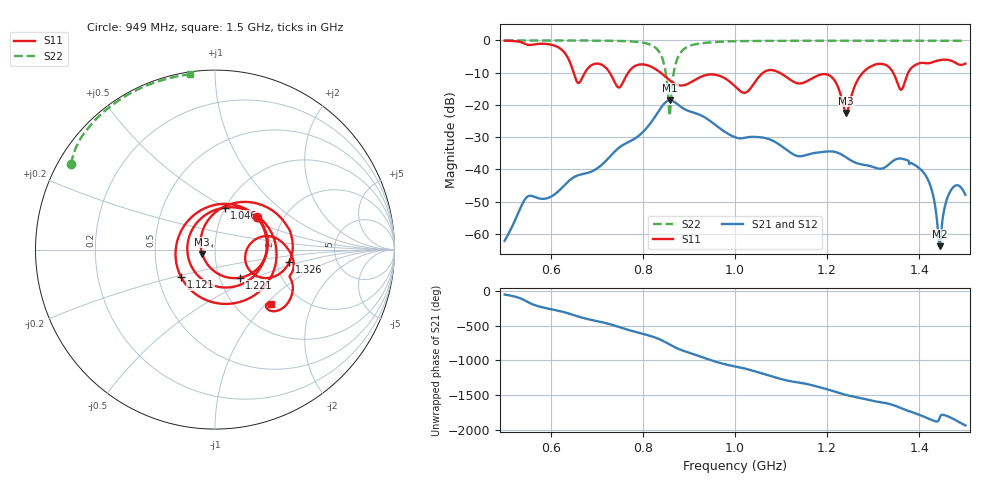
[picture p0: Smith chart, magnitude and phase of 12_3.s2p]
! TOUCHSTONE file generated by CST MICROWAVE STUDIO
! Date and time: Fri Dec 11 13:55:07 2020
! Project name: Scenario_1_Planar_Body_Tissue_Out_of_Line_v2.cst
! Parameters = {dy1=-155.7; L_HA=400; Ltissue=700; MT=2.54; Rad_Dielectric=30; Rad_Lower=7.3; Rad_Upper=30; Wtissue=700; a_HA=580; a_WG=246; b_HA=500; b_WG=121; c_HA=0; c_WG=187; d_feed=85; dx1=520; h_feed=15; h_lower=18; h_upper=40; hfat=3; hgap=25; hmuscle=50; hskin=1.5}
! Header version: 2018
! Port assignment regex: !\s*Touchstone port\s*([0-9]+)\s*=\s*(CST MWS port|CST DS port)\s*([0-9]+|Zmin|Zmax)\s*\(\"(.*)\"\)(\s*mode\s*([0-9]+))?.*
! Touchstone port assignment:
! Touchstone port 1 = CST MWS port 1 ("")
! Touchstone port 2 = CST MWS port 2 ("")
# GHz S DB R 50
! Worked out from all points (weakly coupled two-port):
!   1003 points, 500 MHz to 1.5 GHz, reference 50 ohm
!   highest |S21| = -18.59 dB at 859 MHz (marker M1); lowest = -63.8 dB at 1.444 GHz (marker M2)
!   lowest |S11| = -22.5 dB at 1.241 GHz (marker M3), VSWR 1.16, Z = 43.3 - j2.17 ohm
!   |S11| at or under -10 dB: 728.1 MHz to 768.3 MHz (40.19 MHz wide, 5.37 % of centre); 838.4 MHz to 1.061 GHz (222.9 MHz wide, 23.5 % of centre); 1.096 GHz to 1.277 GHz (181.1 MHz wide, 15.3 % of centre) (the widest 3 of 5)
!   |S22| runs from -23.4 to 0.0 dB; largest |S21 - S12| = 9.6e-05
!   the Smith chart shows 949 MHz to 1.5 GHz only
!   S11 on the Smith chart (normalised r, x): 949 MHz: 1.47, +0.59; 1.046 GHz: 0.99, +0.49; 1.121 GHz: 0.65, -0.21; 1.221 GHz: 1.24, -0.41; 1.326 GHz: 2.36, -0.41; 1.5 GHz: 1.43, -1.08
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0.5  -0.08 -122.0  -62.18 -54.8  -62.18 -54.8  -0.01 151.2
0.599  -1.26 -175.9  -48.58 97.6  -48.58 97.6  -0.02 144.2
0.667  -12.03 171.8  -41.54 -24.9  -41.54 -24.9  -0.04 138.4
0.742  -13.78 11.7  -34.05 -147.5  -34.05 -147.5  -0.14 128.9
0.787  -7.68 165.4  -30.02 123.4  -30.02 123.4  -0.44 118.0
0.834  -9.53 48.1  -22.04 28.8  -22.04 28.9  -3.26 84.4
0.859  -12.45 -20.9  -18.59 -56.5  -18.59 -56.5  -22.67 -73.0
0.882  -13.99 -96.5  -20.55 -128.3  -20.55 -128.3  -3.76 -174.4
0.949  -10.54 37.9  -25.29 77.8  -25.29 77.8  -0.59 149.2
1  -14.25 -99.0  -30.03 -8.7  -30.03 -8.7  -0.25 140.3
1.046  -12.39 76.9  -29.95 -83.3  -29.95 -83.3  -0.17 134.8
1.075  -9.19 -13.6  -30.69 -141.2  -30.69 -141.2  -0.14 132.0
1.121  -12.29 -141.2  -34.86 139.2  -34.86 139.2  -0.11 127.9
1.167  -11.78 81.3  -35.06 82.2  -35.06 82.2  -0.10 124.2
1.221  -13.64 -49.0  -34.75 -18.7  -34.75 -18.7  -0.08 120.1
1.241  -22.49 -160.6  -36.27 -57.1  -36.27 -57.1  -0.09 118.5
1.326  -7.54 -9.8  -39.33 -173.4  -39.33 -173.4  -0.08 112.1
1.334  -8.27 -20.1  -38.45 175.2  -38.45 175.2  -0.08 111.5
1.411  -7.00 -17.0  -41.32 -11.9  -41.32 -11.9  -0.10 105.5
1.444  -6.13 -29.4  -63.83 -28.8  -63.83 -28.7  -0.10 102.8
1.469  -6.27 -44.6  -46.39 -26.1  -46.39 -26.1  -0.11 100.7
1.5  -7.20 -44.3  -47.89 -135.8  -47.89 -135.8  -0.13 98.0
